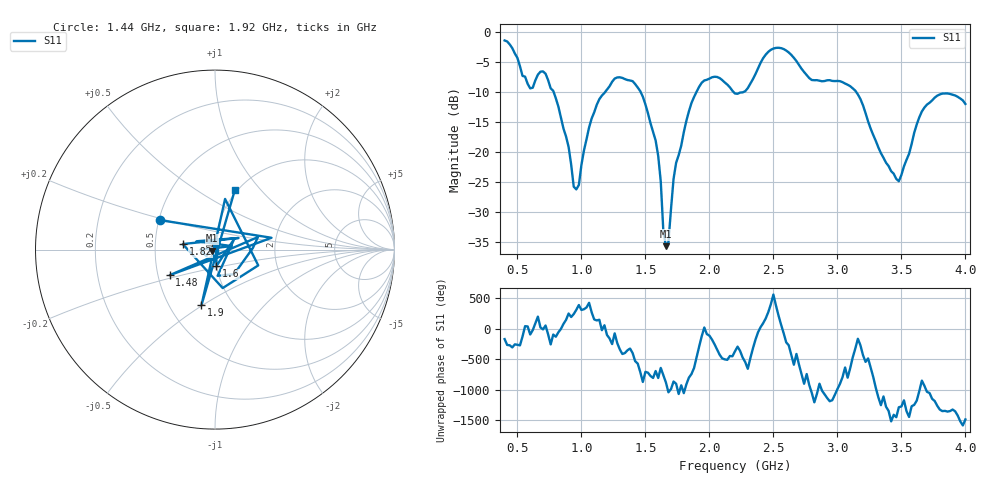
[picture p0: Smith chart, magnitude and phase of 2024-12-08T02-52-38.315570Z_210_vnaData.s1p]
!Created with skrf (http://scikit-rf.org).
# Hz S RI R 50.0
!freq ReS11 ImS11
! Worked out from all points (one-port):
!   181 points, 400 MHz to 4 GHz, reference 50 ohm
!   lowest |S11| = -35.8 dB at 1.66 GHz (marker M1), VSWR 1.03, Z = 48.5 - j0.634 ohm
!   |S11| at or under -10 dB: 783.4 MHz to 1.185 GHz (401.4 MHz wide, 40.8 % of centre); 1.463 GHz to 1.899 GHz (435.2 MHz wide, 25.9 % of centre); 3.148 GHz to end of sweep (the widest 3 of 4)
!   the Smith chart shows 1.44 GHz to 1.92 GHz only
!   S11 on the Smith chart (normalised r, x): 1.44 GHz: 0.51, +0.19; 1.48 GHz: 0.58, -0.18; 1.6 GHz: 1.00, -0.19; 1.82 GHz: 0.69, +0.04; 1.9 GHz: 0.72, -0.49; 1.92 GHz: 0.97, +0.74
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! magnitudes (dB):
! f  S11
! 400 MHz  -1.4
! 600 MHz  -9.4
! 720 MHz  -6.9
! 860 MHz  -16.1
! 960 MHz  -26.3
! 1.12 GHz  -12.1
! 1.3 GHz  -7.5
! 1.44 GHz  -9.2
! 1.48 GHz  -10.8
! 1.6 GHz  -20.7
! 1.64 GHz  -33.2
! 1.66 GHz  -35.8
! 1.68 GHz  -35.1
! 1.72 GHz  -24.5
! 1.76 GHz  -20.5
! 1.82 GHz  -14.8
! 1.9 GHz  -9.9
! 1.92 GHz  -9.1
! 2.06 GHz  -7.5
! 2.2 GHz  -10.2
! 2.48 GHz  -2.9
! 2.66 GHz  -4.3
! 3.1 GHz  -9.0
! 3.46 GHz  -24.5
! 3.56 GHz  -20.3
! 3.66 GHz  -13.2
! 3.76 GHz  -10.9
! 4 GHz  -12.0
